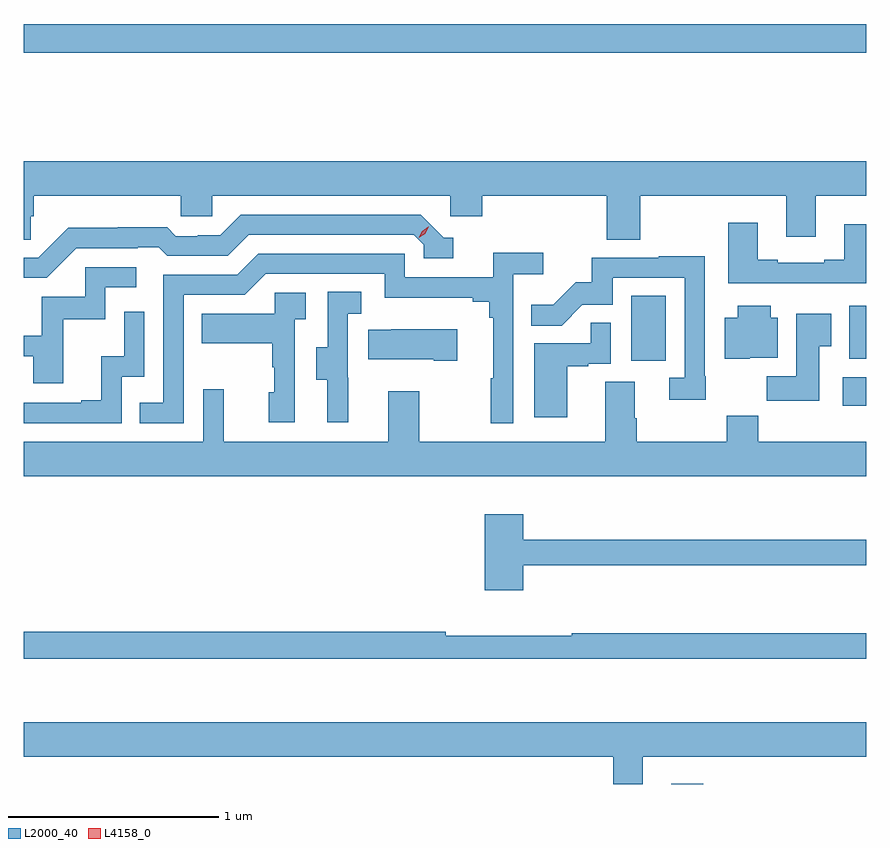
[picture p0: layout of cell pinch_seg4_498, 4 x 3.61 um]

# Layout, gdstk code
import gdstk
lib = gdstk.Library(unit=1e-6, precision=1e-09)
def R(c, l, rs):  # rectangles x0, y0, x1, y1
    for r in rs: c.add(gdstk.rectangle(r[:2], r[2:], *l))
def P(c, l, *ps):  # polygons
    for p in ps: c.add(gdstk.Polygon(p, *l))
L2000_40 = (2000, 40)
L4158_0 = (4158, 0)

pinch_seg4_498 = lib.new_cell('pinch_seg4_498')
R(pinch_seg4_498, L2000_40, [(974.963,754.067,975.116,754.069), (975.777,755.864,975.889,755.998), (974.774,756.078,974.938,756.385), (975.809,756.086,975.889,756.337), (971.889,757.54,975.889,757.676)])
P(pinch_seg4_498, L2000_40, [(971.921,756.762),(971.936,756.762),(971.936,756.86),(972.633,756.86),(972.633,756.762),(972.783,756.762),(972.783,756.86),(973.914,756.86),(973.914,756.762),(974.066,756.762),(974.066,756.86),(974.657,756.86),(974.657,756.652),(974.817,756.652),(974.817,756.86),(975.509,756.86),(975.509,756.666),(975.649,756.666),(975.649,756.86),(975.889,756.86),(975.889,757.024),(971.889,757.024),(971.889,756.652),(971.921,756.652)],
  [(972.138,756.612),(972.431,756.612),(972.431,756.615),(972.53,756.615),(972.569,756.576),(972.858,756.576),(972.957,756.675),(973.74,756.675),(973.788,756.627),(973.788,756.564),(973.927,756.564),(973.927,756.66),(973.884,756.66),(973.773,756.771),(972.92,756.771),(972.821,756.672),(972.714,756.672),(972.714,756.669),(972.611,756.669),(972.569,756.712),(972.336,756.712),(972.336,756.709),(972.1,756.709),(971.958,756.567),(971.889,756.567),(971.889,756.471),(971.997,756.471)],
  [(975.889,756.724),(975.785,756.724),(975.785,756.556),(975.689,756.556),(975.689,756.543),(975.469,756.543),(975.469,756.556),(975.373,756.556),(975.373,756.733),(975.233,756.733),(975.233,756.446),(975.889,756.446)],
  [(972.648,756.39),(972.939,756.39),(973.038,756.489),(973.602,756.489),(973.602,756.377),(974.021,756.377),(974.021,756.358),(974.098,756.358),(974.098,756.281),(974.117,756.281),(974.117,755.993),(974.106,755.993),(974.106,755.781),(974.214,755.781),(974.214,756.488),(974.356,756.488),(974.356,756.59),(974.117,756.59),(974.117,756.474),(973.698,756.474),(973.698,756.585),(973.001,756.585),(972.902,756.486),(972.552,756.486),(972.552,755.877),(972.439,755.877),(972.439,755.781),(972.648,755.781)],
  [(975.128,756.004),(975.123,756.004),(975.123,756.572),(974.905,756.572),(974.905,756.567),(974.587,756.567),(974.587,756.45),(974.51,756.45),(974.403,756.343),(974.299,756.343),(974.299,756.244),(974.443,756.244),(974.541,756.342),(974.685,756.342),(974.685,756.471),(975.027,756.471),(975.027,755.997),(974.955,755.997),(974.955,755.892),(975.128,755.892)],
  [(972.077,756.273),(972.276,756.273),(972.276,756.426),(972.424,756.426),(972.424,756.522),(972.18,756.522),(972.18,756.381),(971.975,756.381),(971.975,756.195),(971.889,756.195),(971.889,756.099),(971.933,756.099),(971.933,755.97),(972.077,755.97)],
  [(973.43,755.997),(973.428,755.997),(973.428,756.301),(973.492,756.301),(973.492,756.404),(973.332,756.404),(973.332,756.141),(973.277,756.141),(973.277,755.986),(973.331,755.986),(973.331,755.784),(973.43,755.784)],
  [(973.176,756.275),(973.228,756.275),(973.228,756.399),(973.08,756.399),(973.08,756.301),(972.733,756.301),(972.733,756.161),(973.068,756.161),(973.068,756.047),(973.078,756.047),(973.078,755.928),(973.052,755.928),(973.052,755.784),(973.176,755.784)],
  [(975.336,756.092),(975.469,756.092),(975.469,756.28),(975.436,756.28),(975.436,756.337),(975.278,756.337),(975.278,756.28),(975.218,756.28),(975.218,756.086),(975.336,756.086)],
  [(972.354,756),(972.462,756),(972.462,756.31),(972.366,756.31),(972.366,756.098),(972.257,756.098),(972.257,755.89),(972.161,755.89),(972.161,755.877),(971.889,755.877),(971.889,755.781),(972.354,755.781)],
  [(975.667,756.145),(975.724,756.145),(975.724,756.301),(975.557,756.301),(975.557,756.004),(975.418,756.004),(975.418,755.886),(975.667,755.886)],
  [(974.47,756.051),(974.57,756.051),(974.57,756.063),(974.676,756.063),(974.676,756.257),(974.581,756.257),(974.581,756.159),(974.312,756.159),(974.312,755.808),(974.47,755.808)],
  [(973.948,756.226),(973.633,756.226),(973.633,756.223),(973.525,756.223),(973.525,756.083),(973.835,756.083),(973.835,756.076),(973.948,756.076)],
  [(975.889,755.692),(975.377,755.692),(975.377,755.816),(975.226,755.816),(975.226,755.692),(974.799,755.692),(974.799,755.804),(974.791,755.804),(974.791,755.978),(974.651,755.978),(974.651,755.692),(973.767,755.692),(973.767,755.932),(973.619,755.932),(973.619,755.692),(972.839,755.692),(972.839,755.941),(972.741,755.941),(972.741,755.692),(971.889,755.692),(971.889,755.528),(975.889,755.528)],
  [(974.261,755.106),(975.889,755.106),(975.889,755.227),(974.261,755.227),(974.261,755.347),(974.078,755.347),(974.078,754.986),(974.261,754.986)],
  [(975.889,754.783),(974.492,754.783),(974.492,754.772),(973.892,754.772),(973.892,754.79),(971.889,754.79),(971.889,754.662),(975.889,754.662)],
  [(974.827,754.196),(975.889,754.196),(975.889,754.36),(971.889,754.36),(971.889,754.196),(974.687,754.196),(974.687,754.067),(974.827,754.067)])
P(pinch_seg4_498, L4158_0, [(973.765,756.66),(973.765,756.66),(973.78,756.693),(973.81,756.714),(973.811,756.714),(973.811,756.714),(973.796,756.68),(973.765,756.66)])

lib.write_gds('pinch_seg4_498.gds')
